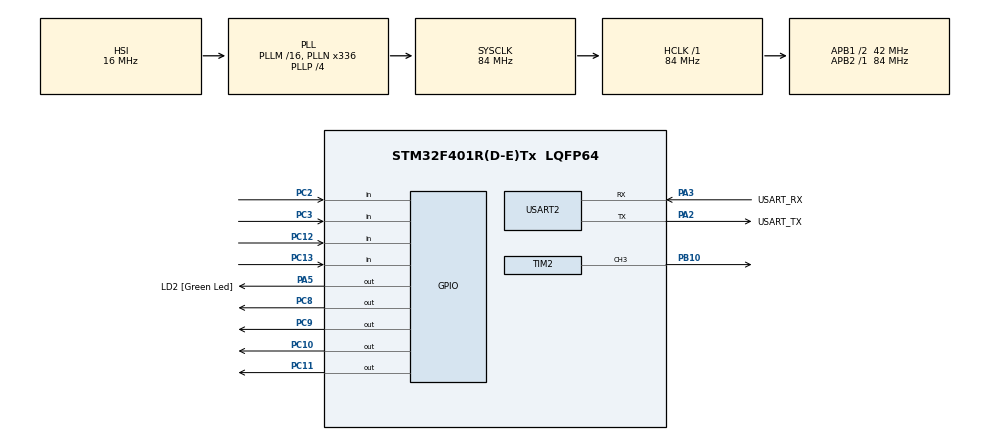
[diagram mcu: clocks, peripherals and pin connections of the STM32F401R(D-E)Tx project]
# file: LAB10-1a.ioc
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Mcu.Family=STM32F4
Mcu.Name=STM32F401R(D-E)Tx
Mcu.Package=LQFP64
NVIC.PriorityGroup=NVIC_PRIORITYGROUP_4
NVIC.TIM3_IRQn=true\:0\:0\:false\:false\:true\:true\:true\:true
NVIC.TIM4_IRQn=true\:1\:0\:false\:false\:true\:true\:true\:true
PA13.GPIO_Label=TMS
PA13.Mode=Trace_Asynchronous_SW
PA13.Signal=SYS_JTMS-SWDIO
PA14.GPIO_Label=TCK
PA14.Mode=Trace_Asynchronous_SW
PA14.Signal=SYS_JTCK-SWCLK
PA2.GPIO_Label=USART_TX
PA2.GPIO_Mode=GPIO_MODE_AF_PP
PA2.GPIO_PuPd=GPIO_NOPULL
PA2.GPIO_Speed=GPIO_SPEED_FREQ_LOW
PA2.Mode=Asynchronous
PA2.Signal=USART2_TX
PA3.GPIO_Label=USART_RX
PA3.GPIO_Mode=GPIO_MODE_AF_PP
PA3.GPIO_PuPd=GPIO_NOPULL
PA3.GPIO_Speed=GPIO_SPEED_FREQ_LOW
PA3.Mode=Asynchronous
PA3.Signal=USART2_RX
PA5.GPIO_Label=LD2 [Green Led]
PA5.GPIO_Mode=GPIO_MODE_OUTPUT_PP
PA5.GPIO_PuPd=GPIO_NOPULL
PA5.GPIO_Speed=GPIO_SPEED_FREQ_LOW
PA5.Signal=GPIO_Output
PB10.Signal=S_TIM2_CH3
PB3.GPIO_Label=SWO
PB3.Mode=Trace_Asynchronous_SW
PB3.Signal=SYS_JTDO-SWO
PC10.Signal=GPIO_Output
PC11.Signal=GPIO_Output
PC12.Signal=GPIO_Input
PC13-ANTI_TAMP.Signal=GPIO_Input
PC14-OSC32_IN.Mode=LSE-External-Oscillator
PC14-OSC32_IN.Signal=RCC_OSC32_IN
PC15-OSC32_OUT.Mode=LSE-External-Oscillator
PC15-OSC32_OUT.Signal=RCC_OSC32_OUT
PC2.Signal=GPIO_Input
PC3.Signal=GPIO_Input
PC8.Signal=GPIO_Output
PC9.Signal=GPIO_Output
PH0\ -\ OSC_IN.Mode=HSE-External-Clock-Source
PH0\ -\ OSC_IN.Signal=RCC_OSC_IN
PH1\ -\ OSC_OUT.Mode=HSE-External-Clock-Source
PH1\ -\ OSC_OUT.Signal=RCC_OSC_OUT
ProjectManager.HeapSize=0x200
ProjectManager.StackSize=0x400
ProjectManager.TargetToolchain=STM32CubeIDE
RCC.48MHZClocksFreq_Value=48000000
RCC.AHBFreq_Value=84000000
RCC.APB1CLKDivider=RCC_HCLK_DIV2
RCC.APB1Freq_Value=42000000
RCC.APB1TimFreq_Value=84000000
RCC.APB2Freq_Value=84000000
RCC.APB2TimFreq_Value=84000000
RCC.CortexFreq_Value=84000000
RCC.HCLKFreq_Value=84000000
RCC.HSE_VALUE=8000000
RCC.HSI_VALUE=16000000
RCC.PLLN=336
RCC.PLLP=RCC_PLLP_DIV4
RCC.PLLQ=7
RCC.SYSCLKFreq_VALUE=84000000
RCC.SYSCLKSource=RCC_SYSCLKSOURCE_PLLCLK
RCC.VCOOutputFreq_Value=336000000
SH.S_TIM2_CH3.0=TIM2_CH3,PWM Generation3 CH3
TIM2.Channel-PWM\ Generation3\ CH3=TIM_CHANNEL_3
TIM2.Period=736
TIM2.Prescaler=2
TIM2.Pulse-PWM\ Generation3\ CH3=368
TIM3.Period=34999
TIM4.Period=39
TIM4.Prescaler=8399
USART2.VirtualMode=VM_ASYNC
VP_TIM3_VS_ClockSourceINT.Mode=Internal
VP_TIM4_VS_ClockSourceINT.Mode=Internal
board=NUCLEO-F401RE

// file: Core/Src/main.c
/* USER CODE BEGIN Header */
/**
  ******************************************************************************
  * @file           : main.c
  * @brief          : Main program body
  ******************************************************************************
  * @attention
  *
  * Copyright (c) 2026 STMicroelectronics.
  * All rights reserved.
  *
  * This software is licensed under terms that can be found in the LICENSE file
  * in the root directory of this software component.
  * If no LICENSE file comes with this software, it is provided AS-IS.
  *
  ******************************************************************************
  */
/* USER CODE END Header */
#include "main.h"

TIM_HandleTypeDef htim2;
TIM_HandleTypeDef htim3;
TIM_HandleTypeDef htim4;

UART_HandleTypeDef huart2;

/* USER CODE BEGIN PV */

/* Keyboard variables --------------------------------------------------------*/

// Row and Column pin definitions for the 4x4 keypad
const uint16_t column_pins[4] = { GPIO_PIN_8, GPIO_PIN_9, GPIO_PIN_10, GPIO_PIN_11 };
const uint16_t row_pins[4] = { GPIO_PIN_12, GPIO_PIN_13, GPIO_PIN_2, GPIO_PIN_3 };

// State tracking arrays for debouncing
uint8_t stable[4][4] = {0};
uint8_t counter[4][4] = {0};

uint8_t col_index = 0;
uint8_t row_index = 0;

const uint8_t lut[4][4] = {
		{'0', '1', '2', '3'},
		{'4', '5', '6', '7'},
		{'8', '9', 'A', 'B'},
		{'C', 'D', 'E', 'F'}
};

/* IR Transmission variables -------------------------------------------------*/

volatile uint8_t IR_busy_flag = 0;
volatile uint8_t IR_tx_byte;
volatile uint8_t IR_tx_bit_index = 0;

/* USER CODE END PV */

void SystemClock_Config(void);
static void MX_GPIO_Init(void);
static void MX_USART2_UART_Init(void);
static void MX_TIM2_Init(void);
static void MX_TIM3_Init(void);
static void MX_TIM4_Init(void);

/* USER CODE BEGIN 0 */

// This function initiates the transmission of a byte via the IR transmitter.
void IR_Transmit_Byte(uint8_t byte)
{
  // Check if the IR transmitter is currently busy
  if (IR_busy_flag == 1) return;

  // Reset the bit index for the new transmission
  IR_busy_flag = 1;
  IR_tx_byte = byte;

  // Start the timer to begin the transmission process
  HAL_TIM_Base_Start_IT(&htim3);
}

// This function handles the transmission of bits for the IR transmitter.
void IR_transmission_routine()
{
  switch (IR_tx_bit_index) {

    case 0:

      // Start the PWM signal for the start bit
      HAL_TIM_PWM_Start(&htim2, TIM_CHANNEL_3);
      break;

    case 9:

      // Stop the PWM signal for the stop bit
      HAL_TIM_PWM_Stop(&htim2, TIM_CHANNEL_3);
      break;

    case 10:

      HAL_TIM_Base_Stop(&htim3);
      IR_busy_flag = 0;
      break;

    default:

      if ((IR_tx_byte >> (IR_tx_bit_index - 1)) & 0x01) {

        // Send '1' by stopping the PWM signal
        HAL_TIM_PWM_Stop(&htim2, TIM_CHANNEL_3);

      } else {

        // Send '0' by starting the PWM signal
        HAL_TIM_PWM_Start(&htim2, TIM_CHANNEL_3);
      }
  }

  // Move to the next bit in the transmission sequence
  IR_tx_bit_index = (IR_tx_bit_index + 1) % 11;
}

// This function reads the state of the keyboard and handles debouncing.
void keyboard_read_routine()
{
  // Read the row for the current active column
  for (row_index = 0; row_index < 4; ++row_index) {

    // Check the status of the key
    uint8_t pressed = (HAL_GPIO_ReadPin(GPIOC, row_pins[row_index]) == GPIO_PIN_RESET);

    // Debounce logic
    if (pressed == stable[row_index][col_index]) {

      counter[row_index][col_index] = 0;

    } else {

      counter[row_index][col_index]++;

      // Validate input after it has been stable for 4 consecutive polling cycles
      if (counter[row_index][col_index] > 4) {

        stable[row_index][col_index] = pressed;
        counter[row_index][col_index] = 0;

        // Transmit the character via IR
        if (pressed) IR_Transmit_Byte(lut[row_index][col_index]);
      }
    }
  }

  // Move to the next column
  HAL_GPIO_WritePin(GPIOC, column_pins[col_index], GPIO_PIN_RESET);
  col_index = (col_index + 1) % 4;
  HAL_GPIO_WritePin(GPIOC, column_pins[col_index], GPIO_PIN_SET);
}

/* USER CODE END 0 */

int main(void)
{

  /* MCU Configuration--------------------------------------------------------*/

  /* Reset of all peripherals, Initializes the Flash interface and the Systick. */
  HAL_Init();

  /* Configure the system clock */
  SystemClock_Config();

  /* Initialize all configured peripherals */
  MX_GPIO_Init();
  MX_USART2_UART_Init();
  MX_TIM2_Init();
  MX_TIM3_Init();
  MX_TIM4_Init();
  /* USER CODE BEGIN 2 */

  // Start the polling timer
  HAL_TIM_Base_Start_IT(&htim4);

  /* USER CODE END 2 */

  /* Infinite loop */
  while (1)
  {

  }
}

void SystemClock_Config(void)
{
  RCC_OscInitTypeDef RCC_OscInitStruct = {0};
  RCC_ClkInitTypeDef RCC_ClkInitStruct = {0};

  /** Configure the main internal regulator output voltage
  */
  __HAL_RCC_PWR_CLK_ENABLE();
  __HAL_PWR_VOLTAGESCALING_CONFIG(PWR_REGULATOR_VOLTAGE_SCALE2);

  /** Initializes the RCC Oscillators according to the specified parameters
  * in the RCC_OscInitTypeDef structure.
  */
  RCC_OscInitStruct.OscillatorType = RCC_OSCILLATORTYPE_HSI;
  RCC_OscInitStruct.HSIState = RCC_HSI_ON;
  RCC_OscInitStruct.HSICalibrationValue = RCC_HSICALIBRATION_DEFAULT;
  RCC_OscInitStruct.PLL.PLLState = RCC_PLL_ON;
  RCC_OscInitStruct.PLL.PLLSource = RCC_PLLSOURCE_HSI;
  RCC_OscInitStruct.PLL.PLLM = 16;
  RCC_OscInitStruct.PLL.PLLN = 336;
  RCC_OscInitStruct.PLL.PLLP = RCC_PLLP_DIV4;
  RCC_OscInitStruct.PLL.PLLQ = 7;
  if (HAL_RCC_OscConfig(&RCC_OscInitStruct) != HAL_OK)
  {
    Error_Handler();
  }

  /** Initializes the CPU, AHB and APB buses clocks
  */
  RCC_ClkInitStruct.ClockType = RCC_CLOCKTYPE_HCLK|RCC_CLOCKTYPE_SYSCLK
                              |RCC_CLOCKTYPE_PCLK1|RCC_CLOCKTYPE_PCLK2;
  RCC_ClkInitStruct.SYSCLKSource = RCC_SYSCLKSOURCE_PLLCLK;
  RCC_ClkInitStruct.AHBCLKDivider = RCC_SYSCLK_DIV1;
  RCC_ClkInitStruct.APB1CLKDivider = RCC_HCLK_DIV2;
  RCC_ClkInitStruct.APB2CLKDivider = RCC_HCLK_DIV1;

  if (HAL_RCC_ClockConfig(&RCC_ClkInitStruct, FLASH_LATENCY_2) != HAL_OK)
  {
    Error_Handler();
  }
}

static void MX_TIM2_Init(void)
{

  TIM_MasterConfigTypeDef sMasterConfig = {0};
  TIM_OC_InitTypeDef sConfigOC = {0};

  htim2.Instance = TIM2;
  htim2.Init.Prescaler = 2;
  htim2.Init.CounterMode = TIM_COUNTERMODE_UP;
  htim2.Init.Period = 736;
  htim2.Init.ClockDivision = TIM_CLOCKDIVISION_DIV1;
  htim2.Init.AutoReloadPreload = TIM_AUTORELOAD_PRELOAD_DISABLE;
  if (HAL_TIM_PWM_Init(&htim2) != HAL_OK)
  {
    Error_Handler();
  }
  sMasterConfig.MasterOutputTrigger = TIM_TRGO_RESET;
  sMasterConfig.MasterSlaveMode = TIM_MASTERSLAVEMODE_DISABLE;
  if (HAL_TIMEx_MasterConfigSynchronization(&htim2, &sMasterConfig) != HAL_OK)
  {
    Error_Handler();
  }
  sConfigOC.OCMode = TIM_OCMODE_PWM1;
  sConfigOC.Pulse = 368;
  sConfigOC.OCPolarity = TIM_OCPOLARITY_HIGH;
  sConfigOC.OCFastMode = TIM_OCFAST_DISABLE;
  if (HAL_TIM_PWM_ConfigChannel(&htim2, &sConfigOC, TIM_CHANNEL_3) != HAL_OK)
  {
    Error_Handler();
  }
  HAL_TIM_MspPostInit(&htim2);

}

static void MX_TIM3_Init(void)
{

  TIM_ClockConfigTypeDef sClockSourceConfig = {0};
  TIM_MasterConfigTypeDef sMasterConfig = {0};

  htim3.Instance = TIM3;
  htim3.Init.Prescaler = 0;
  htim3.Init.CounterMode = TIM_COUNTERMODE_UP;
  htim3.Init.Period = 34999;
  htim3.Init.ClockDivision = TIM_CLOCKDIVISION_DIV1;
  htim3.Init.AutoReloadPreload = TIM_AUTORELOAD_PRELOAD_DISABLE;
  if (HAL_TIM_Base_Init(&htim3) != HAL_OK)
  {
    Error_Handler();
  }
  sClockSourceConfig.ClockSource = TIM_CLOCKSOURCE_INTERNAL;
  if (HAL_TIM_ConfigClockSource(&htim3, &sClockSourceConfig) != HAL_OK)
  {
    Error_Handler();
  }
  sMasterConfig.MasterOutputTrigger = TIM_TRGO_RESET;
  sMasterConfig.MasterSlaveMode = TIM_MASTERSLAVEMODE_DISABLE;
  if (HAL_TIMEx_MasterConfigSynchronization(&htim3, &sMasterConfig) != HAL_OK)
  {
    Error_Handler();
  }

}

static void MX_TIM4_Init(void)
{

  TIM_ClockConfigTypeDef sClockSourceConfig = {0};
  TIM_MasterConfigTypeDef sMasterConfig = {0};

  htim4.Instance = TIM4;
  htim4.Init.Prescaler = 8399;
  htim4.Init.CounterMode = TIM_COUNTERMODE_UP;
  htim4.Init.Period = 39;
  htim4.Init.ClockDivision = TIM_CLOCKDIVISION_DIV1;
  htim4.Init.AutoReloadPreload = TIM_AUTORELOAD_PRELOAD_DISABLE;
  if (HAL_TIM_Base_Init(&htim4) != HAL_OK)
  {
    Error_Handler();
  }
  sClockSourceConfig.ClockSource = TIM_CLOCKSOURCE_INTERNAL;
  if (HAL_TIM_ConfigClockSource(&htim4, &sClockSourceConfig) != HAL_OK)
  {
    Error_Handler();
  }
  sMasterConfig.MasterOutputTrigger = TIM_TRGO_RESET;
  sMasterConfig.MasterSlaveMode = TIM_MASTERSLAVEMODE_DISABLE;
  if (HAL_TIMEx_MasterConfigSynchronization(&htim4, &sMasterConfig) != HAL_OK)
  {
    Error_Handler();
  }

}

static void MX_USART2_UART_Init(void)
{

  huart2.Instance = USART2;
  huart2.Init.BaudRate = 115200;
  huart2.Init.WordLength = UART_WORDLENGTH_8B;
  huart2.Init.StopBits = UART_STOPBITS_1;
  huart2.Init.Parity = UART_PARITY_NONE;
  huart2.Init.Mode = UART_MODE_TX_RX;
  huart2.Init.HwFlowCtl = UART_HWCONTROL_NONE;
  huart2.Init.OverSampling = UART_OVERSAMPLING_16;
  if (HAL_UART_Init(&huart2) != HAL_OK)
  {
    Error_Handler();
  }

}

static void MX_GPIO_Init(void)
{
  GPIO_InitTypeDef GPIO_InitStruct = {0};

  /* GPIO Ports Clock Enable */
  __HAL_RCC_GPIOC_CLK_ENABLE();
  __HAL_RCC_GPIOH_CLK_ENABLE();
  __HAL_RCC_GPIOA_CLK_ENABLE();
  __HAL_RCC_GPIOB_CLK_ENABLE();

  /*Configure GPIO pin Output Level */
  HAL_GPIO_WritePin(LD2_GPIO_Port, LD2_Pin, GPIO_PIN_RESET);

  /*Configure GPIO pin Output Level */
  HAL_GPIO_WritePin(GPIOC, GPIO_PIN_8|GPIO_PIN_9|GPIO_PIN_10|GPIO_PIN_11, GPIO_PIN_RESET);

  /*Configure GPIO pins : PC13 PC2 PC3 PC12 */
  GPIO_InitStruct.Pin = GPIO_PIN_13|GPIO_PIN_2|GPIO_PIN_3|GPIO_PIN_12;
  GPIO_InitStruct.Mode = GPIO_MODE_INPUT;
  GPIO_InitStruct.Pull = GPIO_NOPULL;
  HAL_GPIO_Init(GPIOC, &GPIO_InitStruct);

  /*Configure GPIO pin : LD2_Pin */
  GPIO_InitStruct.Pin = LD2_Pin;
  GPIO_InitStruct.Mode = GPIO_MODE_OUTPUT_PP;
  GPIO_InitStruct.Pull = GPIO_NOPULL;
  GPIO_InitStruct.Speed = GPIO_SPEED_FREQ_LOW;
  HAL_GPIO_Init(LD2_GPIO_Port, &GPIO_InitStruct);

  /*Configure GPIO pins : PC8 PC9 PC10 PC11 */
  GPIO_InitStruct.Pin = GPIO_PIN_8|GPIO_PIN_9|GPIO_PIN_10|GPIO_PIN_11;
  GPIO_InitStruct.Mode = GPIO_MODE_OUTPUT_PP;
  GPIO_InitStruct.Pull = GPIO_NOPULL;
  GPIO_InitStruct.Speed = GPIO_SPEED_FREQ_LOW;
  HAL_GPIO_Init(GPIOC, &GPIO_InitStruct);

}

/* USER CODE BEGIN 4 */

// This callback is triggered when a timer period elapses.
void HAL_TIM_PeriodElapsedCallback(TIM_HandleTypeDef *htim)
{
  // IR Transmission strictly timed at 2400Hz
  if (htim->Instance == TIM3) {
	  IR_transmission_routine();
  }

  // Keyboard Polling
  if (htim->Instance == TIM4) {
    keyboard_read_routine();
  }
}

/* USER CODE END 4 */

void Error_Handler(void)
{
  __disable_irq();
  while (1)
  {
  }
}
